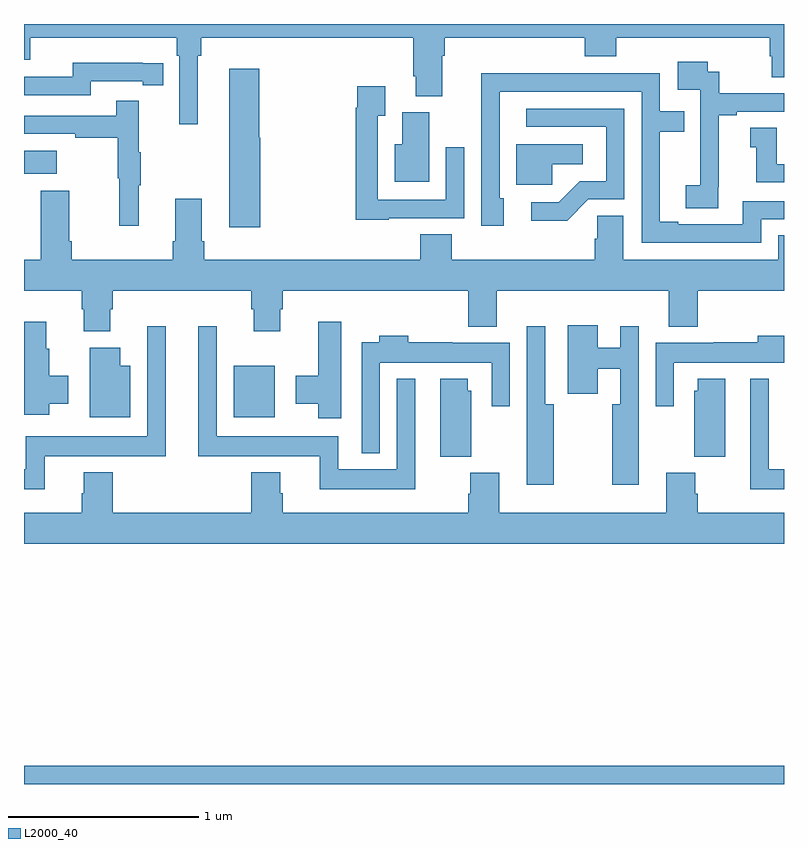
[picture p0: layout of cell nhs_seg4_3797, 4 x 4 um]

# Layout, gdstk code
import gdstk
lib = gdstk.Library(unit=1e-6, precision=1e-09)
def R(c, l, rs):  # rectangles x0, y0, x1, y1
    for r in rs: c.add(gdstk.rectangle(r[:2], r[2:], *l))
def P(c, l, *ps):  # polygons
    for p in ps: c.add(gdstk.Polygon(p, *l))
L2000_40 = (2000, 40)

nhs_seg4_3797 = lib.new_cell('nhs_seg4_3797')
R(nhs_seg4_3797, L2000_40, [(311,784.9,315,784.996), (312.104,786.83,312.319,787.102), (311,788.111,311.173,788.233)])
P(nhs_seg4_3797, L2000_40, [(311.914,788.732),(311.933,788.732),(311.933,788.828),(313.049,788.828),(313.049,788.626),(313.061,788.626),(313.061,788.521),(313.201,788.521),(313.201,788.732),(313.214,788.732),(313.214,788.828),(313.952,788.828),(313.952,788.729),(314.117,788.729),(314.117,788.828),(314.924,788.828),(314.924,788.73),(314.936,788.73),(314.936,788.62),(315,788.62),(315,788.9),(311,788.9),(311,788.711),(311.032,788.711),(311.032,788.828),(311.804,788.828),(311.804,788.732),(311.817,788.732),(311.817,788.373),(311.914,788.373)],
  [(314.654,788.041),(314.656,788.041),(314.656,788.419),(314.752,788.419),(314.752,788.439),(315,788.439),(315,788.535),(314.66,788.535),(314.66,788.649),(314.598,788.649),(314.598,788.701),(314.442,788.701),(314.442,788.553),(314.559,788.553),(314.559,788.249),(314.558,788.249),(314.558,788.052),(314.484,788.052),(314.484,787.93),(314.654,787.93)],
  [(311.352,788.598),(311.624,788.598),(311.624,788.578),(311.732,788.578),(311.732,788.694),(311.624,788.694),(311.624,788.695),(311.256,788.695),(311.256,788.622),(311,788.622),(311,788.526),(311.352,788.526)],
  [(312.244,788.301),(312.239,788.301),(312.239,788.665),(312.08,788.665),(312.08,787.83),(312.244,787.83)],
  [(314.88,787.872),(315,787.872),(315,787.968),(314.784,787.968),(314.784,787.845),(314.443,787.845),(314.443,787.86),(314.347,787.86),(314.347,788.334),(314.474,788.334),(314.474,788.442),(314.346,788.442),(314.346,788.64),(313.868,788.64),(313.868,788.642),(313.406,788.642),(313.406,788.338),(313.407,788.338),(313.407,787.839),(313.525,787.839),(313.525,787.983),(313.503,787.983),(313.503,788.544),(314.25,788.544),(314.25,787.749),(314.88,787.749)],
  [(312.921,787.878),(313.317,787.878),(313.317,788.251),(313.221,788.251),(313.221,787.974),(312.861,787.974),(312.861,788.416),(312.901,788.416),(312.901,788.572),(312.753,788.572),(312.753,788.459),(312.745,788.459),(312.745,787.871),(312.921,787.871)],
  [(311.603,788.051),(311.614,788.051),(311.614,788.225),(311.603,788.225),(311.603,788.497),(311.485,788.497),(311.485,788.418),(311,788.418),(311,788.322),(311.269,788.322),(311.269,788.302),(311.493,788.302),(311.493,788.088),(311.5,788.088),(311.5,787.839),(311.603,787.839)],
  [(313.971,787.977),(314.16,787.977),(314.16,788.454),(313.644,788.454),(313.644,788.358),(314.064,788.358),(314.064,788.073),(313.926,788.073),(313.815,787.962),(313.671,787.962),(313.671,787.865),(313.858,787.865)],
  [(313.132,788.436),(312.992,788.436),(312.992,788.266),(312.95,788.266),(312.95,788.069),(313.132,788.069)],
  [(315,788.163),(314.962,788.163),(314.962,788.354),(314.822,788.354),(314.822,788.251),(314.855,788.251),(314.855,788.067),(315,788.067)],
  [(313.779,788.162),(313.942,788.162),(313.942,788.266),(313.592,788.266),(313.592,788.055),(313.779,788.055)],
  [(311.455,787.398),(311.468,787.398),(311.468,787.496),(312.197,787.496),(312.197,787.398),(312.209,787.398),(312.209,787.284),(312.349,787.284),(312.349,787.398),(312.362,787.398),(312.362,787.496),(313.337,787.496),(313.337,787.307),(313.489,787.307),(313.489,787.496),(314.393,787.496),(314.393,787.307),(314.546,787.307),(314.546,787.496),(315,787.496),(315,787.787),(314.969,787.787),(314.969,787.66),(314.155,787.66),(314.155,787.892),(314.016,787.892),(314.016,787.769),(314.003,787.769),(314.003,787.66),(313.25,787.66),(313.25,787.793),(313.085,787.793),(313.085,787.66),(311.948,787.66),(311.948,787.756),(311.935,787.756),(311.935,787.981),(311.795,787.981),(311.795,787.756),(311.783,787.756),(311.783,787.66),(311.252,787.66),(311.252,787.756),(311.239,787.756),(311.239,788.023),(311.087,788.023),(311.087,787.66),(311,787.66),(311,787.496),(311.303,787.496),(311.303,787.398),(311.315,787.398),(311.315,787.284),(311.455,787.284)],
  [(312.67,787.333),(312.548,787.333),(312.548,787.05),(312.431,787.05),(312.431,786.902),(312.548,786.902),(312.548,786.825),(312.67,786.825)],
  [(311.134,786.902),(311.233,786.902),(311.233,787.05),(311.134,787.05),(311.134,787.191),(311.116,787.191),(311.116,787.333),(311,787.333),(311,786.843),(311.134,786.843)],
  [(314.236,786.794),(314.235,786.794),(314.235,787.309),(314.139,787.309),(314.139,787.195),(314.02,787.195),(314.02,787.315),(313.862,787.315),(313.862,786.954),(314.02,786.954),(314.02,787.085),(314.139,787.085),(314.139,786.898),(314.095,786.898),(314.095,786.474),(314.236,786.474)],
  [(311.108,786.626),(311.746,786.626),(311.746,787.309),(311.649,787.309),(311.649,786.73),(311.01,786.73),(311.01,786.556),(311,786.556),(311,786.452),(311.108,786.452)],
  [(313.06,787.033),(312.963,787.033),(312.963,786.556),(312.654,786.556),(312.654,786.73),(312.015,786.73),(312.015,787.309),(311.918,787.309),(311.918,786.626),(312.557,786.626),(312.557,786.452),(313.06,786.452)],
  [(313.788,786.898),(313.743,786.898),(313.743,787.309),(313.647,787.309),(313.647,786.794),(313.646,786.794),(313.646,786.474),(313.788,786.474)],
  [(312.873,787.118),(313.461,787.118),(313.461,786.888),(313.557,786.888),(313.557,787.222),(313.253,787.222),(313.253,787.225),(313.022,787.225),(313.022,787.258),(312.869,787.258),(312.869,787.225),(312.777,787.225),(312.777,786.641),(312.873,786.641)],
  [(314.421,787.118),(315,787.118),(315,787.258),(314.861,787.258),(314.861,787.225),(314.629,787.225),(314.629,787.222),(314.325,787.222),(314.325,786.888),(314.421,786.888)],
  [(311.56,787.102),(311.506,787.102),(311.506,787.195),(311.345,787.195),(311.345,786.83),(311.56,786.83)],
  [(313.354,786.969),(313.336,786.969),(313.336,787.033),(313.19,787.033),(313.19,786.622),(313.354,786.622)],
  [(314.692,787.033),(314.546,787.033),(314.546,786.969),(314.528,786.969),(314.528,786.622),(314.692,786.622)],
  [(315,786.556),(314.919,786.556),(314.919,787.033),(314.822,787.033),(314.822,786.452),(315,786.452)],
  [(315,786.328),(314.546,786.328),(314.546,786.428),(314.533,786.428),(314.533,786.537),(314.381,786.537),(314.381,786.328),(313.502,786.328),(313.502,786.537),(313.349,786.537),(313.349,786.428),(313.337,786.428),(313.337,786.328),(312.362,786.328),(312.362,786.429),(312.349,786.429),(312.349,786.541),(312.197,786.541),(312.197,786.328),(311.468,786.328),(311.468,786.541),(311.315,786.541),(311.315,786.429),(311.303,786.429),(311.303,786.328),(311,786.328),(311,786.164),(315,786.164)])

lib.write_gds('nhs_seg4_3797.gds')
